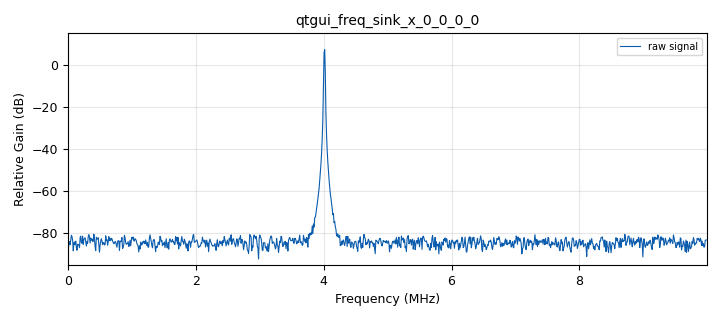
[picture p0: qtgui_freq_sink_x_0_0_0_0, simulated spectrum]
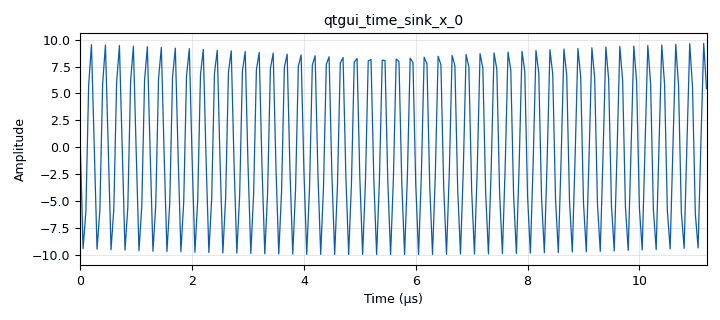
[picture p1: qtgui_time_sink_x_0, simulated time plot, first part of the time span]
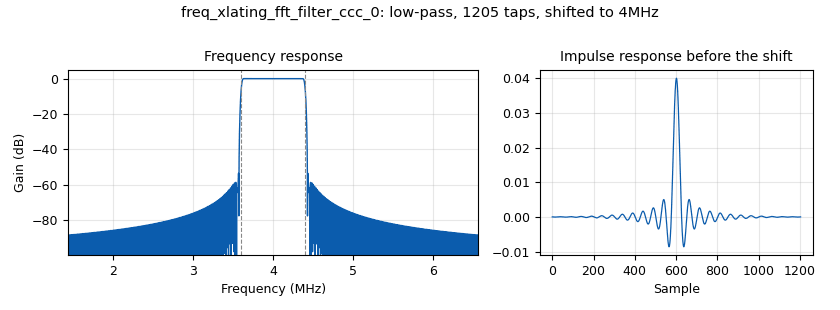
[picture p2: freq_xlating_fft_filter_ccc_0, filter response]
<?xml version='1.0' encoding='utf-8'?>
<?grc format='1' created='3.7.11'?>
<flow_graph>
<block>
<key>options</key>
<param><key>id</key><value>B3_ErrorPropagation_xlating</value></param>
<param><key>generate_options</key><value>qt_gui</value></param>
<param><key>thread_safe_setters</key><value>1</value></param>
<param><key>title</key><value>B3 FEC-based data aggregation according to Section 3.3.3</value></param>
</block>
<block>
<key>variable_qtgui_range</key>
<param><key>id</key><value>bandWidth</value></param>
<param><key>value</key><value>4e5</value></param>
<param><key>gui_hint</key><value>1,1</value></param>
<param><key>orient</key><value>Qt.Horizontal</value></param>
<param><key>start</key><value>1e5</value></param>
<param><key>step</key><value>1e5</value></param>
<param><key>stop</key><value>2e6</value></param>
</block>
<block>
<key>variable_qtgui_range</key>
<param><key>id</key><value>centerFreq</value></param>
<param><key>value</key><value>4e6</value></param>
<param><key>gui_hint</key><value>0,1</value></param>
<param><key>orient</key><value>Qt.Horizontal</value></param>
<param><key>start</key><value>0</value></param>
<param><key>step</key><value>1e5</value></param>
<param><key>stop</key><value>10e6</value></param>
</block>
<block>
<key>variable</key>
<param><key>id</key><value>decimation</value></param>
<param><key>value</key><value>20</value></param>
</block>
<block>
<key>variable_qtgui_range</key>
<param><key>id</key><value>freq</value></param>
<param><key>value</key><value>4.01e6</value></param>
<param><key>gui_hint</key><value>0,0</value></param>
<param><key>orient</key><value>Qt.Horizontal</value></param>
<param><key>start</key><value>10e3</value></param>
<param><key>step</key><value>1e5</value></param>
<param><key>stop</key><value>10e6</value></param>
</block>
<block>
<key>variable</key>
<param><key>id</key><value>samp_rate</value></param>
<param><key>value</key><value>20000000</value></param>
</block>
<block>
<key>analog_noise_source_x</key>
<param><key>id</key><value>analog_noise_source_x_0_0</value></param>
<param><key>amp</key><value>0.01</value></param>
<param><key>noise_type</key><value>analog.GR_UNIFORM</value></param>
<param><key>type</key><value>float</value></param>
<param><key>seed</key><value>0</value></param>
</block>
<block>
<key>analog_sig_source_x</key>
<param><key>id</key><value>analog_sig_source_x_0_0_0</value></param>
<param><key>amp</key><value>10</value></param>
<param><key>freq</key><value>freq</value></param>
<param><key>offset</key><value>0</value></param>
<param><key>type</key><value>float</value></param>
<param><key>samp_rate</key><value>samp_rate</value></param>
<param><key>waveform</key><value>analog.GR_SIN_WAVE</value></param>
</block>
<block>
<key>analog_sig_source_x</key>
<param><key>id</key><value>analog_sig_source_x_0_0_0_0</value></param>
<param><key>amp</key><value>10</value></param>
<param><key>freq</key><value>centerFreq</value></param>
<param><key>offset</key><value>0</value></param>
<param><key>type</key><value>float</value></param>
<param><key>samp_rate</key><value>samp_rate</value></param>
<param><key>waveform</key><value>analog.GR_SIN_WAVE</value></param>
</block>
<block>
<key>blocks_add_xx</key>
<param><key>id</key><value>blocks_add_xx_0</value></param>
<param><key>type</key><value>float</value></param>
</block>
<block>
<key>blocks_complex_to_float</key>
<param><key>id</key><value>blocks_complex_to_float_0</value></param>
</block>
<block>
<key>blocks_complex_to_float</key>
<param><key>id</key><value>blocks_complex_to_float_0_0</value></param>
</block>
<block>
<key>blocks_float_to_complex</key>
<param><key>id</key><value>blocks_float_to_complex_0</value></param>
</block>
<block>
<key>blocks_throttle</key>
<param><key>id</key><value>blocks_throttle_0_0</value></param>
<param><key>samples_per_second</key><value>samp_rate</value></param>
<param><key>type</key><value>float</value></param>
</block>
<block>
<key>digitizers_block_amplitude_and_phase</key>
<param><key>id</key><value>digitizers_block_amplitude_and_phase_0</value></param>
<param><key>cutoff</key><value>bandWidth</value></param>
<param><key>decim</key><value>decimation</value></param>
<param><key>delay</key><value>0</value></param>
<param><key>gain</key><value>2</value></param>
<param><key>hil_win</key><value>64</value></param>
<param><key>samp_rate</key><value>samp_rate</value></param>
<param><key>tr_width</key><value>0.05*bandWidth</value></param>
</block>
<block>
<key>freq_xlating_fft_filter_ccc</key>
<param><key>id</key><value>freq_xlating_fft_filter_ccc_0</value></param>
<param><key>center_freq</key><value>centerFreq</value></param>
<param><key>decim</key><value>decimation</value></param>
<param><key>samp_rate</key><value>samp_rate</value></param>
<param><key>taps</key><value>firdes.low_pass(1,samp_rate, bandWidth, 0.1*bandWidth)</value></param>
</block>
<block>
<key>freq_xlating_fir_filter_xxx</key>
<param><key>id</key><value>freq_xlating_fir_filter_xxx_1</value></param>
<param><key>center_freq</key><value>centerFreq</value></param>
<param><key>decim</key><value>decimation</value></param>
<param><key>samp_rate</key><value>samp_rate</value></param>
<param><key>taps</key><value>firdes.low_pass(1,samp_rate, bandWidth, 0.1*bandWidth)</value></param>
<param><key>type</key><value>fcf</value></param>
</block>
<block>
<key>iq_down_converter</key>
<param><key>id</key><value>iq_down_converter_0_0</value></param>
<param><key>algorithm_id</key><value>0</value></param>
<param><key>decimation</key><value>decimation</value></param>
<param><key>fir_taps_user</key><value>0</value></param>
<param><key>iir_feedback_Taps</key><value>()</value></param>
<param><key>iir_forward_Taps</key><value>()</value></param>
<param><key>freq_min</key><value>10000</value></param>
<param><key>hilbert_taps</key><value>64</value></param>
<param><key>samp_rate</key><value>samp_rate</value></param>
<param><key>freq_transition</key><value>0.05*bandWidth</value></param>
<param><key>freq_max</key><value>bandWidth</value></param>
</block>
<block>
<key>qtgui_freq_sink_x</key>
<param><key>id</key><value>qtgui_freq_sink_x_0_0_0</value></param>
<param><key>autoscale</key><value>True</value></param>
<param><key>average</key><value>0.2</value></param>
<param><key>bw</key><value>samp_rate/decimation</value></param>
<param><key>fc</key><value>0</value></param>
<param><key>fftsize</key><value>2048</value></param>
<param><key>gui_hint</key><value>3,1</value></param>
<param><key>grid</key><value>True</value></param>
<param><key>color1</key><value>"red"</value></param>
<param><key>label1</key><value>down-mixed (FIR)</value></param>
<param><key>color2</key><value>"green"</value></param>
<param><key>label2</key><value>down-mixed IQ-Demodulator</value></param>
<param><key>color3</key><value>"cyan"</value></param>
<param><key>label3</key><value>down-mixed (FFT)</value></param>
<param><key>nconnections</key><value>3</value></param>
<param><key>showports</key><value>True</value></param>
<param><key>freqhalf</key><value>False</value></param>
<param><key>type</key><value>complex</value></param>
<param><key>wintype</key><value>firdes.WIN_HANN</value></param>
</block>
<block>
<key>qtgui_freq_sink_x</key>
<param><key>id</key><value>qtgui_freq_sink_x_0_0_0_0</value></param>
<param><key>autoscale</key><value>True</value></param>
<param><key>average</key><value>0.2</value></param>
<param><key>bw</key><value>samp_rate</value></param>
<param><key>fc</key><value>0</value></param>
<param><key>fftsize</key><value>2048</value></param>
<param><key>gui_hint</key><value>3,0</value></param>
<param><key>grid</key><value>True</value></param>
<param><key>label1</key><value>raw signal</value></param>
<param><key>showports</key><value>True</value></param>
<param><key>freqhalf</key><value>False</value></param>
<param><key>type</key><value>float</value></param>
<param><key>wintype</key><value>firdes.WIN_HANN</value></param>
</block>
<block>
<key>qtgui_freq_sink_x</key>
<param><key>id</key><value>qtgui_freq_sink_x_0_0_0_0_0</value></param>
<param><key>autoscale</key><value>True</value></param>
<param><key>average</key><value>0.2</value></param>
<param><key>bw</key><value>samp_rate/decimation</value></param>
<param><key>fc</key><value>0</value></param>
<param><key>fftsize</key><value>2048</value></param>
<param><key>gui_hint</key><value>4,0,1,2</value></param>
<param><key>grid</key><value>True</value></param>
<param><key>label1</key><value>Ref impl. Re.</value></param>
<param><key>color2</key><value>"blue"</value></param>
<param><key>label2</key><value>Ref impl. Im.</value></param>
<param><key>color3</key><value>"red"</value></param>
<param><key>label3</key><value>Test impl. Re.</value></param>
<param><key>color4</key><value>"red"</value></param>
<param><key>label4</key><value>Test impl. Im.</value></param>
<param><key>nconnections</key><value>4</value></param>
<param><key>showports</key><value>True</value></param>
<param><key>freqhalf</key><value>False</value></param>
<param><key>type</key><value>float</value></param>
<param><key>wintype</key><value>firdes.WIN_HANN</value></param>
</block>
<block>
<key>qtgui_time_sink_x</key>
<param><key>id</key><value>qtgui_time_sink_x_0</value></param>
<param><key>autoscale</key><value>True</value></param>
<param><key>gui_hint</key><value>5,0</value></param>
<param><key>color1</key><value>"blue"</value></param>
<param><key>label1</key><value></value></param>
<param><key>size</key><value>1000</value></param>
<param><key>srate</key><value>samp_rate</value></param>
<param><key>type</key><value>float</value></param>
</block>
<block>
<key>qtgui_time_sink_x</key>
<param><key>id</key><value>qtgui_time_sink_x_0_0</value></param>
<param><key>autoscale</key><value>True</value></param>
<param><key>gui_hint</key><value>5,1</value></param>
<param><key>color1</key><value>"blue"</value></param>
<param><key>label1</key><value></value></param>
<param><key>color2</key><value>"red"</value></param>
<param><key>label2</key><value></value></param>
<param><key>color3</key><value>"green"</value></param>
<param><key>label3</key><value></value></param>
<param><key>color4</key><value>"black"</value></param>
<param><key>label4</key><value></value></param>
<param><key>nconnections</key><value>2</value></param>
<param><key>size</key><value>1000</value></param>
<param><key>srate</key><value>samp_rate/decimation</value></param>
<param><key>type</key><value>complex</value></param>
</block>
<connection><source_block_id>analog_noise_source_x_0_0</source_block_id><sink_block_id>blocks_add_xx_0</sink_block_id><source_key>0</source_key><sink_key>0</sink_key></connection>
<connection><source_block_id>analog_sig_source_x_0_0_0</source_block_id><sink_block_id>blocks_add_xx_0</sink_block_id><source_key>0</source_key><sink_key>1</sink_key></connection>
<connection><source_block_id>analog_sig_source_x_0_0_0_0</source_block_id><sink_block_id>digitizers_block_amplitude_and_phase_0</sink_block_id><source_key>0</source_key><sink_key>1</sink_key></connection>
<connection><source_block_id>analog_sig_source_x_0_0_0_0</source_block_id><sink_block_id>iq_down_converter_0_0</sink_block_id><source_key>0</source_key><sink_key>1</sink_key></connection>
<connection><source_block_id>blocks_add_xx_0</source_block_id><sink_block_id>blocks_float_to_complex_0</sink_block_id><source_key>0</source_key><sink_key>0</sink_key></connection>
<connection><source_block_id>blocks_add_xx_0</source_block_id><sink_block_id>blocks_throttle_0_0</sink_block_id><source_key>0</source_key><sink_key>0</sink_key></connection>
<connection><source_block_id>blocks_add_xx_0</source_block_id><sink_block_id>digitizers_block_amplitude_and_phase_0</sink_block_id><source_key>0</source_key><sink_key>0</sink_key></connection>
<connection><source_block_id>blocks_add_xx_0</source_block_id><sink_block_id>freq_xlating_fir_filter_xxx_1</sink_block_id><source_key>0</source_key><sink_key>0</sink_key></connection>
<connection><source_block_id>blocks_add_xx_0</source_block_id><sink_block_id>iq_down_converter_0_0</sink_block_id><source_key>0</source_key><sink_key>0</sink_key></connection>
<connection><source_block_id>blocks_complex_to_float_0</source_block_id><sink_block_id>qtgui_freq_sink_x_0_0_0_0_0</sink_block_id><source_key>1</source_key><sink_key>1</sink_key></connection>
<connection><source_block_id>blocks_complex_to_float_0</source_block_id><sink_block_id>qtgui_freq_sink_x_0_0_0_0_0</sink_block_id><source_key>0</source_key><sink_key>0</sink_key></connection>
<connection><source_block_id>blocks_complex_to_float_0_0</source_block_id><sink_block_id>qtgui_freq_sink_x_0_0_0_0_0</sink_block_id><source_key>1</source_key><sink_key>3</sink_key></connection>
<connection><source_block_id>blocks_complex_to_float_0_0</source_block_id><sink_block_id>qtgui_freq_sink_x_0_0_0_0_0</sink_block_id><source_key>0</source_key><sink_key>2</sink_key></connection>
<connection><source_block_id>blocks_float_to_complex_0</source_block_id><sink_block_id>freq_xlating_fft_filter_ccc_0</sink_block_id><source_key>0</source_key><sink_key>0</sink_key></connection>
<connection><source_block_id>blocks_throttle_0_0</source_block_id><sink_block_id>qtgui_freq_sink_x_0_0_0_0</sink_block_id><source_key>0</source_key><sink_key>0</sink_key></connection>
<connection><source_block_id>blocks_throttle_0_0</source_block_id><sink_block_id>qtgui_time_sink_x_0</sink_block_id><source_key>0</source_key><sink_key>0</sink_key></connection>
<connection><source_block_id>digitizers_block_amplitude_and_phase_0</source_block_id><sink_block_id>blocks_complex_to_float_0_0</sink_block_id><source_key>0</source_key><sink_key>0</sink_key></connection>
<connection><source_block_id>freq_xlating_fft_filter_ccc_0</source_block_id><sink_block_id>qtgui_freq_sink_x_0_0_0</sink_block_id><source_key>0</source_key><sink_key>2</sink_key></connection>
<connection><source_block_id>freq_xlating_fir_filter_xxx_1</source_block_id><sink_block_id>qtgui_freq_sink_x_0_0_0</sink_block_id><source_key>0</source_key><sink_key>0</sink_key></connection>
<connection><source_block_id>freq_xlating_fir_filter_xxx_1</source_block_id><sink_block_id>qtgui_time_sink_x_0_0</sink_block_id><source_key>0</source_key><sink_key>0</sink_key></connection>
<connection><source_block_id>iq_down_converter_0_0</source_block_id><sink_block_id>blocks_complex_to_float_0</sink_block_id><source_key>0</source_key><sink_key>0</sink_key></connection>
<connection><source_block_id>iq_down_converter_0_0</source_block_id><sink_block_id>qtgui_freq_sink_x_0_0_0</sink_block_id><source_key>0</source_key><sink_key>1</sink_key></connection>
<connection><source_block_id>iq_down_converter_0_0</source_block_id><sink_block_id>qtgui_time_sink_x_0_0</sink_block_id><source_key>0</source_key><sink_key>1</sink_key></connection>
</flow_graph>
